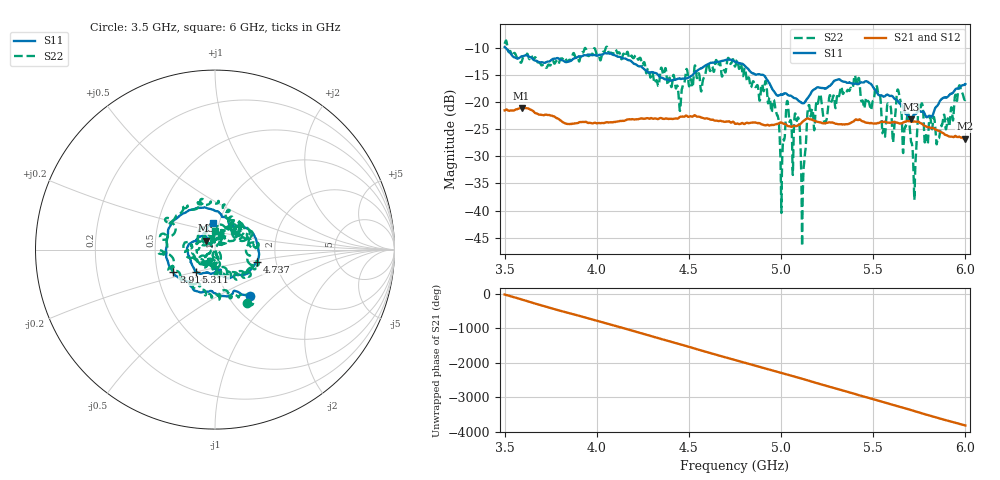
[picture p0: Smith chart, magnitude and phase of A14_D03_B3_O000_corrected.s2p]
! Created with skrf 1.9.0 (http://scikit-rf.org).
# Hz S RI R 50.0
!freq ReS11 ImS11 ReS21 ImS21 ReS12 ImS12 ReS22 ImS22
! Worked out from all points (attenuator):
!   1601 points, 3.5 GHz to 6 GHz, reference 50 ohm
!   highest |S21| = -21.05 dB at 3.592 GHz (marker M1); lowest = -26.7 dB at 5.997 GHz (marker M2)
!   lowest |S11| = -23.2 dB at 5.703 GHz (marker M3), VSWR 1.15, Z = 45.2 + j4.57 ohm
!   |S11| at or under -10 dB: 3.506 GHz to end of sweep
!   |S22| runs from -46.6 to -8.6 dB; largest |S21 - S12| = 0.001
!   S11 on the Smith chart (normalised r, x): 3.5 GHz: 1.26, -0.72; 3.914 GHz: 0.61, -0.16; 4.737 GHz: 1.59, -0.23; 5.311 GHz: 0.79, -0.20; 6 GHz: 0.94, +0.28
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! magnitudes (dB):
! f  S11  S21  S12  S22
! 3.5 GHz  -9.8  -21.5  -21.5  -9.2
! 3.592 GHz  -11.6  -21.0  -21.1  -12.6
! 3.914 GHz  -11.6  -23.7  -23.6  -11.1
! 3.917 GHz  -11.6  -23.7  -23.6  -10.8
! 4.334 GHz  -15.0  -23.1  -23.0  -17.0
! 4.737 GHz  -12.3  -23.6  -23.7  -12.1
! 4.75 GHz  -12.5  -24.0  -23.9  -13.4
! 4.967 GHz  -18.3  -24.1  -24.1  -20.8
! 5.005 GHz  -18.6  -23.8  -23.8  -32.8
! 5.034 GHz  -18.6  -24.4  -24.3  -19.8
! 5.086 GHz  -19.4  -24.4  -24.3  -23.5
! 5.119 GHz  -20.2  -23.6  -23.5  -35.4
! 5.145 GHz  -19.2  -23.0  -23.0  -21.2
! 5.167 GHz  -18.0  -23.2  -23.2  -21.3
! 5.311 GHz  -15.8  -24.1  -24.0  -18.7
! 5.584 GHz  -18.8  -23.7  -23.7  -20.4
! 5.703 GHz  -23.2  -23.6  -23.5  -26.8
! 5.722 GHz  -22.2  -23.5  -23.5  -37.0
! 5.756 GHz  -21.7  -23.8  -23.8  -20.9
! 5.85 GHz  -20.6  -25.2  -25.1  -26.7
! 5.997 GHz  -16.7  -26.7  -26.7  -19.6
! 6 GHz  -16.6  -26.7  -26.7  -19.5
